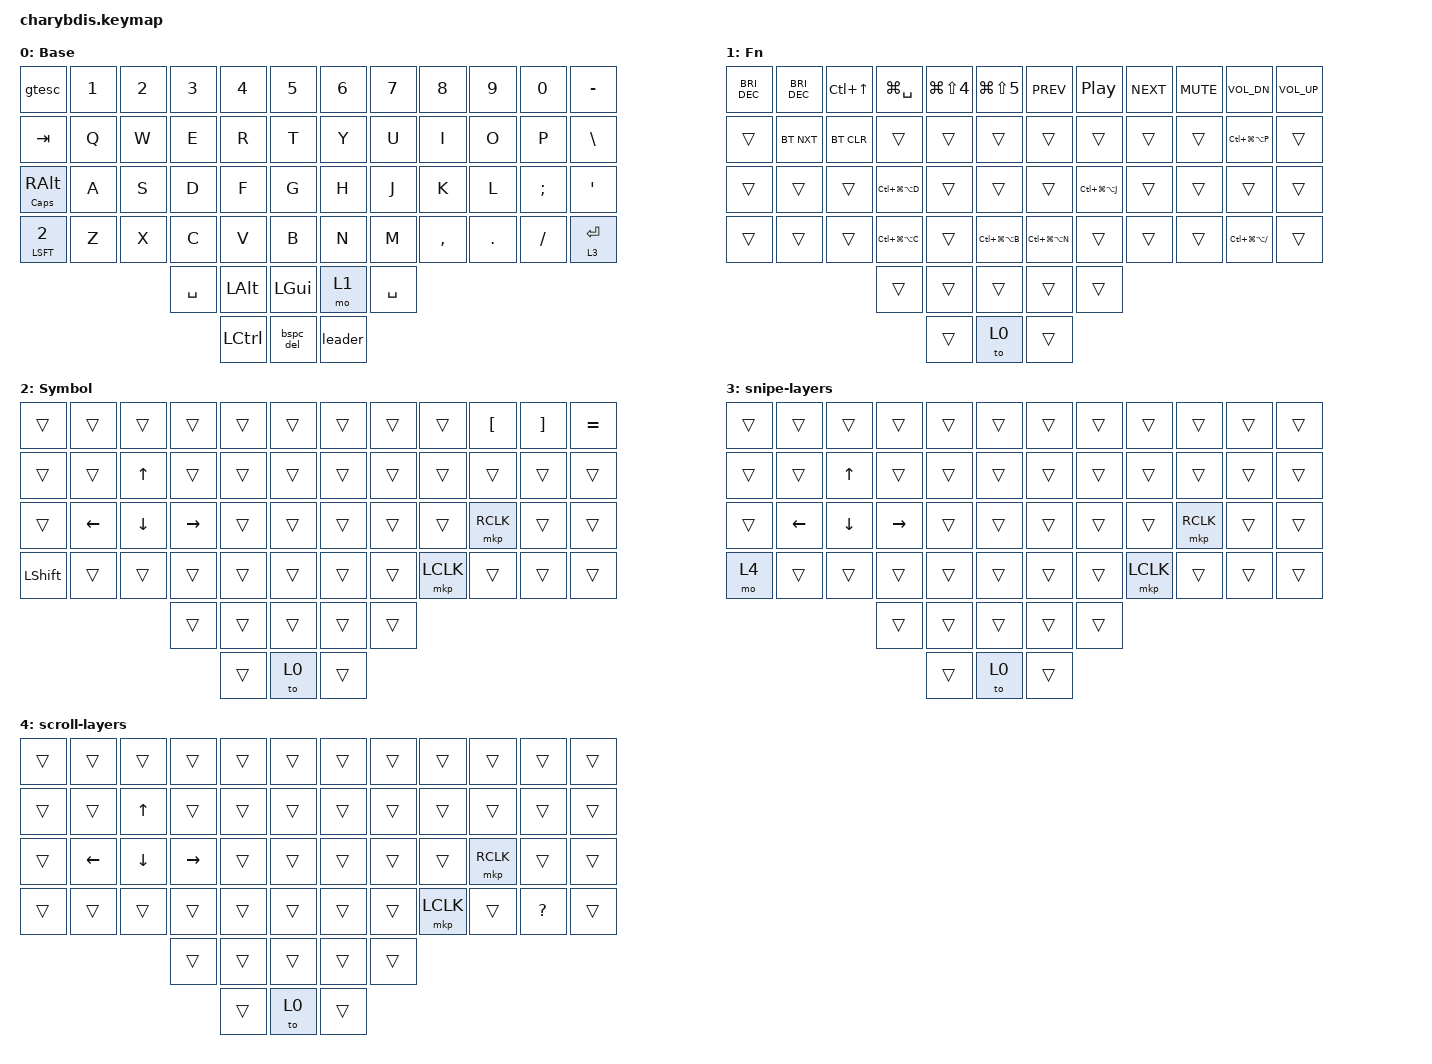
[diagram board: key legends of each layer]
#include <behaviors.dtsi>
#include <dt-bindings/zmk/bt.h>
#include <dt-bindings/zmk/keys.h>
#include <dt-bindings/zmk/pointing.h>
#include <dt-bindings/zmk/behaviors.h>
#include <dt-bindings/zmk/rgb.h>


&lt {
    tapping-term-ms = <200>;
    flavor = "balanced";
    quick-tap-ms = <150>;
};

/ {
    scroll_encoder: scroll_encoder {
        compatible = "zmk,behavior-sensor-rotate";
        #sensor-binding-cells = <0>;
        bindings = <&msc SCRL_DOWN>, <&msc SCRL_UP>;

        tap-ms = <100>;
    };

    macros {
        leader: snippet_leader {
            compatible = "zmk,behavior-macro";
            #binding-cells = <0>;
            tap-ms = <1>;
            wait-ms = <1>;
            bindings = <&macro_tap &kp LC(LG(LA(SPACE))) &kp LC(LG(LS(RBKT)))>;
        };
        leader_alt: snippet_leader_alternative {
            compatible = "zmk,behavior-macro";
            #binding-cells = <0>;
            tap-ms = <1>;
            wait-ms = <1>;
            bindings = <&macro_tap &kp LC(LG(LA(SPACE))) &kp LC(LG(LS(LA(RBKT))))>;
        };
    };

    combos {
        compatible = "zmk,combos";
        combo_enter {
            timeout-ms = <200>;
            key-positions = <48 52>;
            bindings = <&kp ENTER>;
        };
        combo_leader_alternative {
            timeout-ms = <200>;
            key-positions = <54 55>;
            bindings = <&leader_alt>;
        };
        combo_vivaldi_right {
            timeout-ms = <150>;
            key-positions = <51 52>;
            bindings = <&kp LG(LALT)>;
        };
        combo_rectangle_right {
            timeout-ms = <150>;
            key-positions = <51 54>;
            bindings = <&kp LC(LALT)>;
        };
        combo_lbkt {
            timeout-ms = <150>;
            key-positions = <8 9>;
            bindings = <&kp LBKT>;
        };
    };

    behaviors {
        as: auto_shift {
            compatible = "zmk,behavior-hold-tap";
            #binding-cells = <2>;
            tapping_term_ms = <275>;
            quick_tap_ms = <0>;
            flavor = "tap-preferred";
            bindings = <&kp>, <&kp>;
        };

        mta: mod_tap_alternative {
            compatible = "zmk,behavior-hold-tap";
            #binding-cells = <2>;
            tapping_term_ms = <250>;
            quick_tap_ms = <0>;
            flavor = "tap-preferred";
            bindings = <&kp>, <&kp>;
        };

        lt: layer_tap {
            compatible = "zmk,behavior-hold-tap";
            #binding-cells = <2>;
            flavor = "tap-preferred";
            tapping-term-ms = <200>;
            bindings = <&mo>, <&kp>;
            display-name = "Layer-Tap";
        };

        lta: layer_tap_alternative {
            compatible = "zmk,behavior-hold-tap";
            #binding-cells = <2>;
            flavor = "hold-preferred";
            tapping-term-ms = <200>;
            bindings = <&mo>, <&kp>;
            display-name = "Layer-Tap";
        };

        lts: layer_tap_sticky {
            compatible = "zmk,behavior-hold-tap";
            #binding-cells = <2>;
            flavor = "hold-preferred";
            tapping-term-ms = <200>;
            bindings = <&kp>, <&slq>;
            display-name = "Layer-Tap-sticky";
        };

        slq: sticky_layer_non_quick_release {
            compatible = "zmk,behavior-sticky-key";
            #binding-cells = <1>;
            bindings = <&mo>;
            release-after-ms = <1000>;
            ignore-modifiers;
          };

        gtesc: grave_tilde_escape {
            compatible = "zmk,behavior-mod-morph";
            #binding-cells = <0>;
            bindings = <&kp ESC>, <&kp GRAVE>;
            mods = <(MOD_LGUI|MOD_LALT|MOD_LSFT|MOD_RGUI|MOD_RALT|MOD_RSFT)>;
            keep-mods = <(MOD_LSFT|MOD_RSFT)>;
        };

        bspc_del: backspace_delete {
            compatible = "zmk,behavior-mod-morph";
            #binding-cells = <0>;
            bindings = <&kp BACKSPACE>, <&kp DELETE>;
            mods = <(MOD_LALT|MOD_LSFT|MOD_RALT|MOD_RSFT)>;
        };

        tog_on: toggle_layer_on_only {
            compatible = "zmk,behavior-toggle-layer";
            #binding-cells = <1>;
            display-name = "Toggle Layer On";
            toggle-mode = "on";
        };

        tog_off: toggle_layer_off_only {
            compatible = "zmk,behavior-toggle-layer";
            #binding-cells = <1>;
            display-name = "Toggle Layer Off";
            toggle-mode = "off";
        };
    };

    keymap {
        compatible = "zmk,keymap";

        Base {
            bindings = <
&gtesc          &kp N1   &kp N2   &kp N3     &kp N4    &kp N5     &kp N6   &kp N7      &kp N8      &kp N9    &kp N0     &kp MINUS
&kp TAB         &kp Q    &kp W    &kp E      &kp R     &kp T      &kp Y    &kp U       &kp I       &kp O     &kp P      &kp BSLH
&mta CAPS RALT  &kp A    &kp S    &kp D      &kp F     &kp G      &kp H    &kp J       &kp K       &kp L     &kp SEMI   &kp APOS
&lts LSFT 2     &kp Z    &kp X    &kp C      &kp V     &kp B      &kp N    &kp M       &kp COMMA   &kp DOT   &kp FSLH   &lta 3 ENTER
                                  &kp SPACE  &kp LALT  &kp LGUI   &mo 1    &kp SPACE
                                             &kp LCTL  &bspc_del  &leader  
            >;
        };

        Fn {
            bindings = <
&kp C_BRI_DEC  &kp C_BRI_DEC  &kp LC(UP)  &kp LG(SPACE)      &kp LG(LS(N4))  &kp LG(LS(N5))     &kp C_PREV         &kp C_PP           &kp C_NEXT  &kp C_MUTE  &kp C_VOL_DN          &kp C_VOL_UP
&trans         &bt BT_NXT     &bt BT_CLR  &trans             &trans          &trans             &trans             &trans             &trans      &trans      &kp LC(LG(LA(P)))     &trans
&trans         &trans         &trans      &kp LC(LG(LA(D)))  &trans          &trans             &trans             &kp LC(LG(LA(J)))  &trans      &trans      &trans                &trans
&trans         &trans         &trans      &kp LC(LG(LA(C)))  &trans          &kp LC(LG(LA(B)))  &kp LC(LG(LA(N)))  &trans             &trans      &trans      &kp LC(LG(LA(FSLH)))  &trans
                                          &trans             &trans          &trans             &trans             &trans
                                                             &trans          &to 0              &trans
            >;
        };

        Symbol {
            bindings = <
&trans     &trans    &trans    &trans     &trans  &trans  &trans  &trans  &trans     &kp LBKT   &kp RBKT  &kp EQUAL
&trans     &trans    &kp UP    &trans     &trans  &trans  &trans  &trans  &trans     &trans     &trans    &trans
&trans     &kp LEFT  &kp DOWN  &kp RIGHT  &trans  &trans  &trans  &trans  &trans     &mkp RCLK  &trans    &trans
&kp LSHFT  &trans    &trans    &trans     &trans  &trans  &trans  &trans  &mkp LCLK  &trans     &trans    &trans
                               &trans     &trans  &trans  &trans  &trans
                                          &trans  &to 0   &trans
            >;
        };

        snipe-layers {
            bindings = <
&trans  &trans    &trans    &trans     &trans  &trans  &trans  &trans  &trans     &trans     &trans  &trans
&trans  &trans    &kp UP    &trans     &trans  &trans  &trans  &trans  &trans     &trans     &trans  &trans
&trans  &kp LEFT  &kp DOWN  &kp RIGHT  &trans  &trans  &trans  &trans  &trans     &mkp RCLK  &trans  &trans
&mo 4   &trans    &trans    &trans     &trans  &trans  &trans  &trans  &mkp LCLK  &trans     &trans  &trans
                            &trans     &trans  &trans  &trans  &trans
                                       &trans  &to 0   &trans
            >;
        };

        scroll-layers {
            bindings = <
&trans  &trans    &trans    &trans     &trans  &trans  &trans  &trans  &trans     &trans     &trans     &trans
&trans  &trans    &kp UP    &trans     &trans  &trans  &trans  &trans  &trans     &trans     &trans     &trans
&trans  &kp LEFT  &kp DOWN  &kp RIGHT  &trans  &trans  &trans  &trans  &trans     &mkp RCLK  &trans     &trans
&trans  &trans    &trans    &trans     &trans  &trans  &trans  &trans  &mkp LCLK  &trans     &kp QMARK  &trans
                            &trans     &trans  &trans  &trans  &trans
                                       &trans  &to 0   &trans
            >;
        };
    };
};
